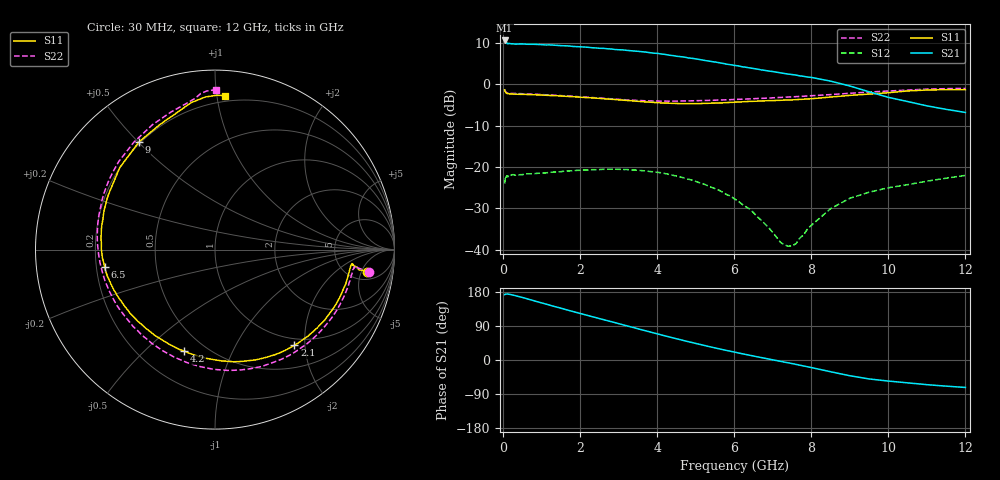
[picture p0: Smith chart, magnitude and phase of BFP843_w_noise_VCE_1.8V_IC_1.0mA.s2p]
! Infineon Technologies  Discrete & RF Semiconductors
! BFP843
! VCE =  1.8 V,  IC =  1.0 mA
! Common Emitter S-Parameters:  Aug 2013
# GHz  S  MA  R  50
!  f  S11  S21  S12  S22
! GHz  MAG  ANG  MAG  ANG  MAG  ANG  MAG  ANG
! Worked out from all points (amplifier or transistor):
!   103 points, 30 MHz to 12 GHz, reference 50 ohm
!   highest |S21| = 10.6 dB at 30 MHz (marker M1)
!   |S21| within 3 dB of that: start of sweep to 3.841 GHz
!   unconditionally stable (mu >= 1): 95.86 MHz to 1.504 GHz; 2.871 GHz to 11.93 GHz
!   at 400 MHz: K = 1.04, MAG = 14.6 dB, |S12| = -21.9 dB
!   at 3.7 GHz: K = 1.09, MAG = 12.5 dB, |S12| = -21.0 dB
!   at 12 GHz: K = 0.99, MSG = 7.6 dB, |S12| = -22.0 dB
!   lowest NFmin = 1.52 dB at 450 MHz
!   S11 on the Smith chart (normalised r, x): 30 MHz: 6.91, -6.42; 2.1 GHz: 0.87, -1.79; 4.2 GHz: 0.38, -0.67; 6.5 GHz: 0.23, -0.08; 9 GHz: 0.19, +0.50; 12 GHz: 0.16, +1.05
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0.03  0.8566 -8.3  3.388 172.5  0.0628 38.8  0.8684 -8.1
0.07  0.7837 -6.9  3.139 173.9  0.0763 18.0  0.797 -7.1
0.13  0.7716 -6.1  3.11 174.0  0.0788 10.9  0.7814 -7.1
0.5  0.7544 -12.5  3.073 164.8  0.0808 1.7  0.7676 -16.8
0.9  0.7438 -21.4  3.029 153.3  0.0838 -0.9  0.7546 -29.4
1.6  0.7163 -37.9  2.921 133.6  0.0892 -7.0  0.7243 -51.9
2.1  0.6926 -50.3  2.823 119.9  0.0918 -13.3  0.7014 -68.1
2.6  0.6684 -62.6  2.722 106.5  0.0935 -19.5  0.6765 -84.2
3.1  0.6424 -75.5  2.604 93.0  0.0929 -27.3  0.6518 -100.8
3.6  0.6157 -89.2  2.475 79.5  0.0902 -36.3  0.6343 -117.4
4.1  0.5949 -103.7  2.324 66.3  0.085 -45.0  0.624 -133.7
4.2  0.5909 -106.8  2.299 63.6  0.083 -47.2  0.6259 -136.7
4.7  0.5827 -122.1  2.129 50.9  0.0734 -56.3  0.6289 -151.0
5.1  0.5834 -134.3  1.992 41.2  0.0641 -62.2  0.6339 -161.3
6.1  0.6096 -161.0  1.67 18.7  0.0386 -75.0  0.6576 175.5
6.5  0.6222 -170.9  1.55 10.4  0.0278 -75.1  0.669 167.2
7.4  0.6452 167.6  1.328 -7.5  0.011 -24.4  0.7007 149.4
8.5  0.7001 139.3  1.091 -31.0  0.0313 25.1  0.7502 127.0
9  0.7341 125.2  0.952 -41.6  0.0418 20.7  0.7782 116.6
9.5  0.7611 113.9  0.81 -50.0  0.0495 15.1  0.805 107.7
10.5  0.8298 99.2  0.618 -60.3  0.061 7.4  0.85 97.5
12  0.8596 86.4  0.456 -72.4  0.079 -4.2  0.8908 89.7
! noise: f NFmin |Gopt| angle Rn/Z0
0.45  1.52  0.46  10  0.26
0.9  1.58  0.47  20  0.28
1.5  1.7  0.47  32  0.31
1.9  1.8  0.47  40  0.39
2.4  1.95  0.45  51  0.48
3.5  2.01  0.41  76  0.69
5.5  2.21  0.34  145  0.83
10  4.25  0.67  -90  0.89
